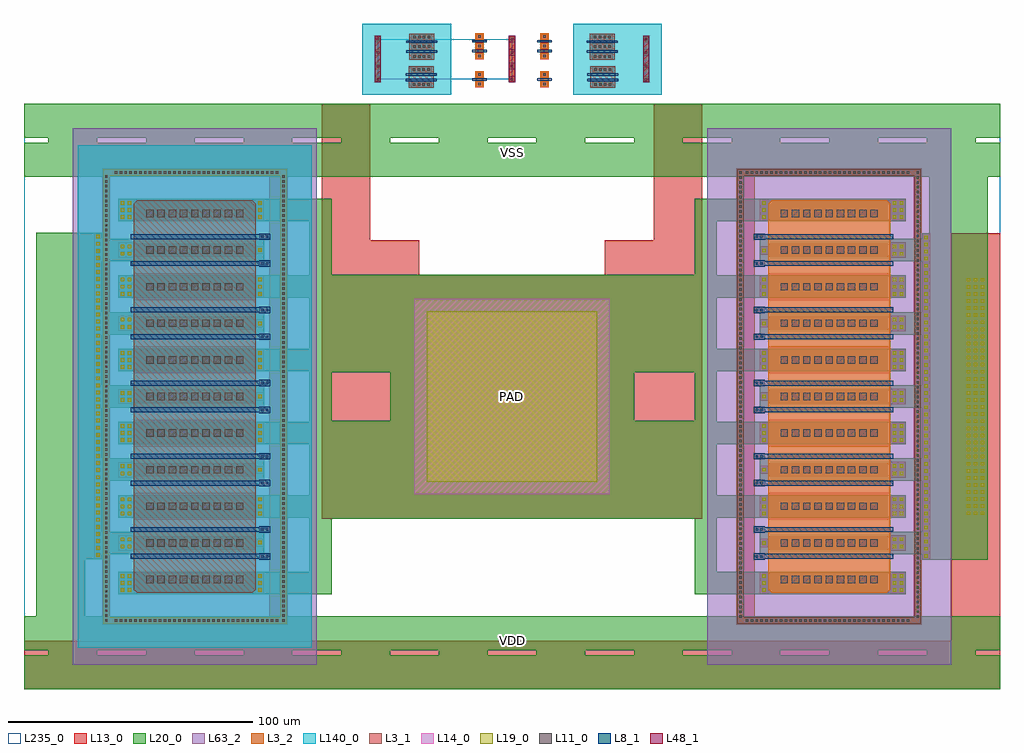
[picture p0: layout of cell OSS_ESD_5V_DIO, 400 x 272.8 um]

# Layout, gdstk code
from math import pi, radians
import gdstk
lib = gdstk.Library(unit=1e-6, precision=1e-09)
def R(c, l, rs):  # rectangles x0, y0, x1, y1
    for r in rs: c.add(gdstk.rectangle(r[:2], r[2:], *l))
def A(c, l, x, y, w, h, nx, ny, dx, dy):  # array of equal rectangles
    R(c, l, [(x+i*dx, y+j*dy, x+i*dx+w, y+j*dy+h) for i in range(nx) for j in range(ny)])
def P(c, l, *ps):  # polygons
    for p in ps: c.add(gdstk.Polygon(p, *l))
L3_1 = (3, 1)
L3_2 = (3, 2)
L8_1 = (8, 1)
L11_0 = (11, 0)
L13_0 = (13, 0)
L14_0 = (14, 0)
L19_0 = (19, 0)
L20_0 = (20, 0)
L48_1 = (48, 1)
L63_2 = (63, 2)
L140_0 = (140, 0)
L235_0 = (235, 0)

oss_wlmn_cdns = lib.new_cell('OSS_WLMN_CDNS')

oss_mne_cdns = lib.new_cell('OSS_MNE_CDNS')
P(oss_mne_cdns, L3_2, [(1.4,0),(0,1.4),(0,48.6),(1.4,50),(24.6,50),(26,48.6),(26,1.4),(24.6,0)],
  [(1.4,0),(0,1.4),(0,48.6),(1.4,50),(24.6,50),(26,48.6),(26,1.4),(24.6,0)])
R(oss_mne_cdns, L8_1, [(10,-1.2,12,51.2)])
A(oss_mne_cdns, L11_0, 4, 5.1, 3, 3, 1, 9, 0, 4.6)
A(oss_mne_cdns, L11_0, 19, 5.1, 3, 3, 1, 9, 0, 4.6)
R(oss_mne_cdns, L13_0, [(2.8,0,8.2,50), (17.8,0,26,50)])

oss_nch_esd = lib.new_cell('OSS_NCH_ESD')
P(oss_nch_esd, L3_1, [(-93.1,-37.6),(-93.1,35),(-90.5,35),(-90.5,-35),(90.5,-35),(90.5,35),(-93.1,35),(-93.1,37.6),(93.1,37.6),(93.1,-37.6)])
P(oss_nch_esd, L8_1, [(-66.5,26.2),(-66.5,26.4),(-66.8,26.4),(-66.8,31),(-64.2,31),(-64.2,26.4),(-64.5,26.4),(-64.5,26.2)],
  [(-55.5,26.2),(-55.5,26.4),(-55.8,26.4),(-55.8,31),(-53.2,31),(-53.2,26.4),(-53.5,26.4),(-53.5,26.2)],
  [(-36.5,26.2),(-36.5,26.4),(-36.8,26.4),(-36.8,31),(-34.2,31),(-34.2,26.4),(-34.5,26.4),(-34.5,26.2)],
  [(-25.5,26.2),(-25.5,26.4),(-25.8,26.4),(-25.8,31),(-23.2,31),(-23.2,26.4),(-23.5,26.4),(-23.5,26.2)],
  [(-6.5,26.2),(-6.5,26.4),(-6.8,26.4),(-6.8,31),(-4.2,31),(-4.2,26.4),(-4.5,26.4),(-4.5,26.2)],
  [(4.5,26.2),(4.5,26.4),(4.2,26.4),(4.2,31),(6.8,31),(6.8,26.4),(6.5,26.4),(6.5,26.2)],
  [(23.5,26.2),(23.5,26.4),(23.2,26.4),(23.2,31),(25.8,31),(25.8,26.4),(25.5,26.4),(25.5,26.2)],
  [(34.5,26.2),(34.5,26.4),(34.2,26.4),(34.2,31),(36.8,31),(36.8,26.4),(36.5,26.4),(36.5,26.2)],
  [(53.5,26.2),(53.5,26.4),(53.2,26.4),(53.2,31),(55.8,31),(55.8,26.4),(55.5,26.4),(55.5,26.2)],
  [(64.5,26.2),(64.5,26.4),(64.2,26.4),(64.2,31),(66.8,31),(66.8,26.4),(66.5,26.4),(66.5,26.2)])
A(oss_nch_esd, L11_0, -90.7, -36.8, 1, 1, 92, 2, 2, 72.6)
A(oss_nch_esd, L11_0, -92.3, -32.8, 1, 1, 1, 34, 0, 2)
A(oss_nch_esd, L11_0, 91.3, -32.8, 1, 1, 1, 34, 0, 2)
R(oss_nch_esd, L11_0, [(-66,27.2,-65,28.2), (-55,27.2,-54,28.2), (-36,27.2,-35,28.2), (-25,27.2,-24,28.2), (-6,27.2,-5,28.2), (5,27.2,6,28.2), (24,27.2,25,28.2), (35,27.2,36,28.2), (54,27.2,55,28.2), (65,27.2,66,28.2), (-66,29.2,-65,30.2), (-55,29.2,-54,30.2), (-36,29.2,-35,30.2), (-25,29.2,-24,30.2), (-6,29.2,-5,30.2), (5,29.2,6,30.2), (24,29.2,25,30.2), (35,29.2,36,30.2), (54,29.2,55,30.2), (65,29.2,66,30.2)])
A(oss_nch_esd, L13_0, -49.6, -31.3, 9.2, 6.3, 4, 1, 30, 0)
A(oss_nch_esd, L13_0, -61.7, 25, 3.4, 3.4, 4, 1, 30, 0)
A(oss_nch_esd, L13_0, -49.6, 25, 9.2, 3.4, 4, 1, 30, 0)
R(oss_nch_esd, L13_0, [(-67,-41.4,66.9,-38), (-93.1,-37.6,93.1,-35), (-93.1,-35,-90.5,35), (90.5,-35,93.1,35), (-81,-31.3,-71.8,-25), (-63.2,-31.3,-59.8,-25), (-60.2,-31.3,-56.8,-25), (-33.2,-31.3,-29.8,-25), (-30.2,-31.3,-26.8,-25), (-3.2,-31.3,0.2,-25), (-0.2,-31.3,3.2,-25), (26.8,-31.3,30.2,-25), (29.8,-31.3,33.2,-25), (56.8,-31.3,60.2,-25), (59.8,-31.3,63.2,-25), (71.8,-31.3,81,-25), (-81,25,-71.8,28.4), (58.2,25,61.6,28.4), (71.8,25,81,28.4), (-66.8,26.4,-64.2,31), (-55.8,26.4,-53.2,31), (-36.8,26.4,-34.2,31), (-25.8,26.4,-23.2,31), (-6.8,26.4,-4.2,31), (4.2,26.4,6.8,31), (23.2,26.4,25.8,31), (34.2,26.4,36.8,31), (53.2,26.4,55.8,31), (64.2,26.4,66.8,31), (-90.5,30.6,90.5,35), (-93.1,35,93.1,37.6)])
A(oss_nch_esd, L19_0, -66, -40.4, 1.4, 1.4, 46, 1, 2.9, 0)
A(oss_nch_esd, L19_0, -80, -30.3, 1.4, 1.4, 3, 2, 2.9, 2.9)
A(oss_nch_esd, L19_0, -48.6, -30.3, 1.4, 1.4, 3, 2, 2.9, 2.9)
A(oss_nch_esd, L19_0, -18.6, -30.3, 1.4, 1.4, 3, 2, 2.9, 2.9)
A(oss_nch_esd, L19_0, 11.4, -30.3, 1.4, 1.4, 3, 2, 2.9, 2.9)
A(oss_nch_esd, L19_0, 41.4, -30.3, 1.4, 1.4, 3, 2, 2.9, 2.9)
A(oss_nch_esd, L19_0, 72.8, -30.3, 1.4, 1.4, 3, 2, 2.9, 2.9)
A(oss_nch_esd, L19_0, -80, 26, 1.4, 1.4, 3, 1, 2.9, 0)
A(oss_nch_esd, L19_0, -48.6, 26, 1.4, 1.4, 3, 1, 2.9, 0)
A(oss_nch_esd, L19_0, -18.6, 26, 1.4, 1.4, 3, 1, 2.9, 0)
A(oss_nch_esd, L19_0, 11.4, 26, 1.4, 1.4, 3, 1, 2.9, 0)
A(oss_nch_esd, L19_0, 41.4, 26, 1.4, 1.4, 3, 1, 2.9, 0)
A(oss_nch_esd, L19_0, 72.8, 26, 1.4, 1.4, 3, 1, 2.9, 0)
R(oss_nch_esd, L19_0, [(-62.2,-30.3,-60.8,-28.9), (-59.2,-30.3,-57.8,-28.9), (-32.2,-30.3,-30.8,-28.9), (-29.2,-30.3,-27.8,-28.9), (-2.2,-30.3,-0.8,-28.9), (0.8,-30.3,2.2,-28.9), (27.8,-30.3,29.2,-28.9), (30.8,-30.3,32.2,-28.9), (57.8,-30.3,59.2,-28.9), (60.8,-30.3,62.2,-28.9), (-62.2,-27.4,-60.8,-26), (-59.2,-27.4,-57.8,-26), (-32.2,-27.4,-30.8,-26), (-29.2,-27.4,-27.8,-26), (-2.2,-27.4,-0.8,-26), (0.8,-27.4,2.2,-26), (27.8,-27.4,29.2,-26), (30.8,-27.4,32.2,-26), (57.8,-27.4,59.2,-26), (60.8,-27.4,62.2,-26), (-60.7,26,-59.3,27.4), (-30.7,26,-29.3,27.4), (-0.7,26,0.7,27.4), (29.3,26,30.7,27.4), (59.2,26,60.6,27.4)])
P(oss_nch_esd, L20_0, [(-67,-50),(-67,-38),(-64.6,-38),(-64.6,28.4),(-55.4,28.4),(-55.4,-38),(-34.6,-38),(-34.6,28.4),(-25.4,28.4),(-25.4,-38),(-4.6,-38),(-4.6,28.4),(4.6,28.4),(4.6,-38),(25.4,-38),(25.4,28.4),(34.6,28.4),(34.6,-38),(55.4,-38),(55.4,28.4),(64.6,28.4),(64.6,-38),(66.9,-38),(66.9,-50)],
  [(-81,-31.3),(-81,50),(81,50),(81,-31.3),(71.8,-31.3),(71.8,46),(49.6,46),(49.6,-31.3),(40.4,-31.3),(40.4,46),(19.6,46),(19.6,-31.3),(10.4,-31.3),(10.4,46),(-10.4,46),(-10.4,-31.3),(-19.6,-31.3),(-19.6,46),(-40.4,46),(-40.4,-31.3),(-49.6,-31.3),(-49.6,46),(-71.8,46),(-71.8,-31.3)])
R(oss_nch_esd, L63_2, [(-110,-50,110,50)])
oss_nch_esd.add(gdstk.FlexPath([(93.5,36.3),(-93.1,36.3)], 3.4, ends="flush", simple_path=True, layer=13, datatype=0))  # L13_0
oss_nch_esd.add(gdstk.FlexPath([(91.8,38),(91.8,-38)], 3.4, ends="flush", simple_path=True, layer=13, datatype=0))  # L13_0
oss_nch_esd.add(gdstk.FlexPath([(93.5,-36.3),(-93.5,-36.3)], 3.4, ends="flush", simple_path=True, layer=13, datatype=0))  # L13_0
oss_nch_esd.add(gdstk.FlexPath([(-91.8,38),(-91.8,-38)], 3.4, ends="flush", simple_path=True, layer=13, datatype=0))  # L13_0
oss_nch_esd.add(gdstk.Reference(oss_wlmn_cdns, (0,0), rotation=pi))
oss_nch_esd.add(gdstk.Reference(oss_mne_cdns, (-5.5,25), x_reflection=True))
oss_nch_esd.add(gdstk.Reference(oss_mne_cdns, (24.5,25), x_reflection=True))
oss_nch_esd.add(gdstk.Reference(oss_mne_cdns, (5.5,25), rotation=pi))
oss_nch_esd.add(gdstk.Reference(oss_mne_cdns, (65.5,25), rotation=pi))
oss_nch_esd.add(gdstk.Reference(oss_mne_cdns, (35.5,25), rotation=pi))
oss_nch_esd.add(gdstk.Reference(oss_mne_cdns, (54.5,25), x_reflection=True))
oss_nch_esd.add(gdstk.Reference(oss_mne_cdns, (-35.5,25), x_reflection=True))
oss_nch_esd.add(gdstk.Reference(oss_mne_cdns, (-24.5,25), rotation=pi))
oss_nch_esd.add(gdstk.Reference(oss_mne_cdns, (-65.5,25), x_reflection=True))
oss_nch_esd.add(gdstk.Reference(oss_mne_cdns, (-54.5,25), rotation=pi))
oss_nch_esd.add(gdstk.Label('VSS', (0,-46), layer=49, texttype=0))
oss_nch_esd.add(gdstk.Label('PAD', (0,48), layer=49, texttype=0))

oss_mpe_cdns = lib.new_cell('OSS_MPE_CDNS')
P(oss_mpe_cdns, L3_1, [(1.4,0),(0,1.4),(0,48.6),(1.4,50),(24.6,50),(26,48.6),(26,1.4),(24.6,0)])
R(oss_mpe_cdns, L8_1, [(10,-1.2,12,51.2)])
A(oss_mpe_cdns, L11_0, 4, 5.1, 3, 3, 1, 9, 0, 4.6)
A(oss_mpe_cdns, L11_0, 19, 5.1, 3, 3, 1, 9, 0, 4.6)
R(oss_mpe_cdns, L13_0, [(2.8,0,8.2,50), (17.8,0,26,50)])

oss_wlmp_cdns = lib.new_cell('OSS_WLMP_CDNS')
R(oss_wlmp_cdns, L140_0, [(-103,-48,103,48)])

oss_pch_esd = lib.new_cell('OSS_PCH_ESD')
P(oss_pch_esd, L3_2, [(-93.1,-37.6),(-93.1,35),(-90.5,35),(-90.5,-35),(90.5,-35),(90.5,35),(-93.1,35),(-93.1,37.6),(93.1,37.6),(93.1,-37.6)],
  [(-93.1,-37.6),(-93.1,35),(-90.5,35),(-90.5,-35),(90.5,-35),(90.5,35),(-93.1,35),(-93.1,37.6),(93.1,37.6),(93.1,-37.6)])
P(oss_pch_esd, L8_1, [(-66.8,-31),(-66.8,-26.4),(-66.5,-26.4),(-66.5,-26.2),(-64.5,-26.2),(-64.5,-26.4),(-64.2,-26.4),(-64.2,-31)],
  [(-55.8,-31),(-55.8,-26.4),(-55.5,-26.4),(-55.5,-26.2),(-53.5,-26.2),(-53.5,-26.4),(-53.2,-26.4),(-53.2,-31)],
  [(-36.8,-31),(-36.8,-26.4),(-36.5,-26.4),(-36.5,-26.2),(-34.5,-26.2),(-34.5,-26.4),(-34.2,-26.4),(-34.2,-31)],
  [(-25.8,-31),(-25.8,-26.4),(-25.5,-26.4),(-25.5,-26.2),(-23.5,-26.2),(-23.5,-26.4),(-23.2,-26.4),(-23.2,-31)],
  [(-6.8,-31),(-6.8,-26.4),(-6.5,-26.4),(-6.5,-26.2),(-4.5,-26.2),(-4.5,-26.4),(-4.2,-26.4),(-4.2,-31)],
  [(4.2,-31),(4.2,-26.4),(4.5,-26.4),(4.5,-26.2),(6.5,-26.2),(6.5,-26.4),(6.8,-26.4),(6.8,-31)],
  [(23.2,-31),(23.2,-26.4),(23.5,-26.4),(23.5,-26.2),(25.5,-26.2),(25.5,-26.4),(25.8,-26.4),(25.8,-31)],
  [(34.2,-31),(34.2,-26.4),(34.5,-26.4),(34.5,-26.2),(36.5,-26.2),(36.5,-26.4),(36.8,-26.4),(36.8,-31)],
  [(53.2,-31),(53.2,-26.4),(53.5,-26.4),(53.5,-26.2),(55.5,-26.2),(55.5,-26.4),(55.8,-26.4),(55.8,-31)],
  [(64.2,-31),(64.2,-26.4),(64.5,-26.4),(64.5,-26.2),(66.5,-26.2),(66.5,-26.4),(66.8,-26.4),(66.8,-31)])
A(oss_pch_esd, L11_0, -92.3, -36.8, 1, 1, 92, 2, 2, 72.6)
A(oss_pch_esd, L11_0, -92.3, -34.2, 1, 1, 1, 34, 0, 2)
A(oss_pch_esd, L11_0, 91.3, -34.2, 1, 1, 1, 34, 0, 2)
R(oss_pch_esd, L11_0, [(-66,-30.2,-65,-29.2), (-55,-30.2,-54,-29.2), (-36,-30.2,-35,-29.2), (-25,-30.2,-24,-29.2), (-6,-30.2,-5,-29.2), (5,-30.2,6,-29.2), (24,-30.2,25,-29.2), (35,-30.2,36,-29.2), (54,-30.2,55,-29.2), (65,-30.2,66,-29.2), (-66,-28.2,-65,-27.2), (-55,-28.2,-54,-27.2), (-36,-28.2,-35,-27.2), (-25,-28.2,-24,-27.2), (-6,-28.2,-5,-27.2), (5,-28.2,6,-27.2), (24,-28.2,25,-27.2), (35,-28.2,36,-27.2), (54,-28.2,55,-27.2), (65,-28.2,66,-27.2)])
A(oss_pch_esd, L13_0, -49.6, -28.4, 9.2, 3.4, 4, 1, 30, 0)
A(oss_pch_esd, L13_0, -31.7, -28.4, 3.4, 3.4, 4, 1, 30, 0)
A(oss_pch_esd, L13_0, -49.6, 25, 9.2, 6.3, 4, 1, 30, 0)
R(oss_pch_esd, L13_0, [(-93.1,-37.6,93.1,-35), (-93.1,-35,-90.5,35), (-90.5,-35,90.5,-30.6), (90.5,-35,93.1,35), (-66.8,-31,-64.2,-26.4), (-55.8,-31,-53.2,-26.4), (-36.8,-31,-34.2,-26.4), (-25.8,-31,-23.2,-26.4), (-6.8,-31,-4.2,-26.4), (4.2,-31,6.8,-26.4), (23.2,-31,25.8,-26.4), (34.2,-31,36.8,-26.4), (53.2,-31,55.8,-26.4), (64.2,-31,66.8,-26.4), (-81,-28.4,-71.8,-25), (-61.6,-28.4,-58.2,-25), (71.8,-28.4,81,-25), (-81,25,-71.8,31.3), (-63.2,25,-59.8,31.3), (-60.2,25,-56.8,31.3), (-33.2,25,-29.8,31.3), (-30.2,25,-26.8,31.3), (-3.2,25,0.2,31.3), (-0.2,25,3.2,31.3), (26.8,25,30.2,31.3), (29.8,25,33.2,31.3), (56.8,25,60.2,31.3), (59.8,25,63.2,31.3), (71.8,25,81,31.3), (-93.1,35,93.1,37.6), (-66.7,38,67.2,41.4)])
A(oss_pch_esd, L19_0, -80, -27.4, 1.4, 1.4, 3, 2, 2.9, 53.4)
A(oss_pch_esd, L19_0, -48.6, -27.4, 1.4, 1.4, 3, 2, 2.9, 53.4)
A(oss_pch_esd, L19_0, -18.6, -27.4, 1.4, 1.4, 3, 2, 2.9, 53.4)
A(oss_pch_esd, L19_0, 11.4, -27.4, 1.4, 1.4, 3, 2, 2.9, 53.4)
A(oss_pch_esd, L19_0, 41.4, -27.4, 1.4, 1.4, 3, 2, 2.9, 53.4)
A(oss_pch_esd, L19_0, 72.8, -27.4, 1.4, 1.4, 3, 2, 2.9, 53.4)
A(oss_pch_esd, L19_0, -80, 28.9, 1.4, 1.4, 3, 1, 2.9, 0)
A(oss_pch_esd, L19_0, -48.6, 28.9, 1.4, 1.4, 3, 1, 2.9, 0)
A(oss_pch_esd, L19_0, -18.6, 28.9, 1.4, 1.4, 3, 1, 2.9, 0)
A(oss_pch_esd, L19_0, 11.4, 28.9, 1.4, 1.4, 3, 1, 2.9, 0)
A(oss_pch_esd, L19_0, 41.4, 28.9, 1.4, 1.4, 3, 1, 2.9, 0)
A(oss_pch_esd, L19_0, 72.8, 28.9, 1.4, 1.4, 3, 1, 2.9, 0)
A(oss_pch_esd, L19_0, -65.7, 39, 1.4, 1.4, 46, 1, 2.9, 0)
R(oss_pch_esd, L19_0, [(-60.6,-27.4,-59.2,-26), (-30.7,-27.4,-29.3,-26), (-0.7,-27.4,0.7,-26), (29.3,-27.4,30.7,-26), (59.3,-27.4,60.7,-26), (-62.2,26,-60.8,27.4), (-59.2,26,-57.8,27.4), (-32.2,26,-30.8,27.4), (-29.2,26,-27.8,27.4), (-2.2,26,-0.8,27.4), (0.8,26,2.2,27.4), (27.8,26,29.2,27.4), (30.8,26,32.2,27.4), (57.8,26,59.2,27.4), (60.8,26,62.2,27.4), (-62.2,28.9,-60.8,30.3), (-59.2,28.9,-57.8,30.3), (-32.2,28.9,-30.8,30.3), (-29.2,28.9,-27.8,30.3), (-2.2,28.9,-0.8,30.3), (0.8,28.9,2.2,30.3), (27.8,28.9,29.2,30.3), (30.8,28.9,32.2,30.3), (57.8,28.9,59.2,30.3), (60.8,28.9,62.2,30.3)])
P(oss_pch_esd, L20_0, [(-81,-50),(-81,31.3),(-71.8,31.3),(-71.8,-47),(-49.6,-47),(-49.6,31.3),(-40.4,31.3),(-40.4,-47),(-19.6,-47),(-19.6,31.3),(-10.4,31.3),(-10.4,-47),(10.4,-47),(10.4,31.3),(19.6,31.3),(19.6,-47),(40.4,-47),(40.4,31.3),(49.6,31.3),(49.6,-47),(71.8,-47),(71.8,31.3),(81,31.3),(81,-50)],
  [(-64.6,-28.4),(-64.6,38),(-66.7,38),(-66.7,50),(67.2,50),(67.2,38),(64.6,38),(64.6,-28.4),(55.4,-28.4),(55.4,38),(34.6,38),(34.6,-28.4),(25.4,-28.4),(25.4,38),(4.6,38),(4.6,-28.4),(-4.6,-28.4),(-4.6,38),(-25.4,38),(-25.4,-28.4),(-34.6,-28.4),(-34.6,38),(-55.4,38),(-55.4,-28.4)])
R(oss_pch_esd, L63_2, [(-110,-50,110,50)])
oss_pch_esd.add(gdstk.FlexPath([(65.5,-29.7),(65.5,-31.9),(-65.5,-31.9),(-65.5,-29.7)], 2.6, ends="flush", simple_path=True, layer=13, datatype=0))  # L13_0
oss_pch_esd.add(gdstk.FlexPath([(-93.5,-36.3),(93.5,-36.3)], 3.4, ends="flush", simple_path=True, layer=13, datatype=0))  # L13_0
oss_pch_esd.add(gdstk.FlexPath([(-93.5,36.3),(93.5,36.3)], 3.4, ends="flush", simple_path=True, layer=13, datatype=0))  # L13_0
oss_pch_esd.add(gdstk.FlexPath([(-91.8,-38),(-91.8,38)], 3.4, ends="flush", simple_path=True, layer=13, datatype=0))  # L13_0
oss_pch_esd.add(gdstk.FlexPath([(91.8,-38),(91.8,38)], 3.4, ends="flush", simple_path=True, layer=13, datatype=0))  # L13_0
oss_pch_esd.add(gdstk.Reference(oss_mpe_cdns, (5.5,-25), rotation=pi, x_reflection=True))
oss_pch_esd.add(gdstk.Reference(oss_mpe_cdns, (-35.5,-25)))
oss_pch_esd.add(gdstk.Reference(oss_mpe_cdns, (24.5,-25)))
oss_pch_esd.add(gdstk.Reference(oss_mpe_cdns, (35.5,-25), rotation=pi, x_reflection=True))
oss_pch_esd.add(gdstk.Reference(oss_mpe_cdns, (-5.5,-25)))
oss_pch_esd.add(gdstk.Reference(oss_mpe_cdns, (65.5,-25), rotation=pi, x_reflection=True))
oss_pch_esd.add(gdstk.Reference(oss_mpe_cdns, (54.5,-25)))
oss_pch_esd.add(gdstk.Reference(oss_mpe_cdns, (-54.5,-25), rotation=pi, x_reflection=True))
oss_pch_esd.add(gdstk.Reference(oss_mpe_cdns, (-65.5,-25)))
oss_pch_esd.add(gdstk.Reference(oss_mpe_cdns, (-24.5,-25), rotation=pi, x_reflection=True))
oss_pch_esd.add(gdstk.Reference(oss_wlmp_cdns, (0,0)))
oss_pch_esd.add(gdstk.Label('VDD', (0,45), layer=49, texttype=0))
oss_pch_esd.add(gdstk.Label('PAD', (0,-49), layer=49, texttype=0))

oss_pad = lib.new_cell('OSS_PAD')
R(oss_pad, L13_0, [(-50,-50,50,50)])
R(oss_pad, L14_0, [(-40,-40,40,40)])
R(oss_pad, L19_0, [(-35,-35,35,35)])
R(oss_pad, L20_0, [(-50,-50,50,50)])

via_1 = lib.new_cell('via_1')
R(via_1, L13_0, [(-5,-50,5,50)])
A(via_1, L19_0, -3.6, -48.55, 1.4, 1.4, 3, 34, 2.9, 2.9)
R(via_1, L20_0, [(-5,-50,5,50)])

fet_p = lib.new_cell('fet_p')
R(fet_p, L3_1, [(-4.4,-5.2,4.4,5.2)])
A(fet_p, L11_0, -3.6, -3.5, 1, 1, 1, 4, 0, 2)
A(fet_p, L11_0, 2.6, -3.5, 1, 1, 1, 4, 0, 2)
R(fet_p, L13_0, [(-4.4,-4.3,-1.8,4.3), (1.8,-4.3,4.4,4.3)])
fet_p.add(gdstk.FlexPath([(1.1,-6.4),(1.1,6.4)], 1, ends="flush", simple_path=True, layer=8, datatype=1))  # L8_1
fet_p.add(gdstk.FlexPath([(-1.1,-6.4),(-1.1,6.4)], 1, ends="flush", simple_path=True, layer=8, datatype=1))  # L8_1

fet_n = lib.new_cell('fet_n')
R(fet_n, L3_2, [(-3.3,-1.7,3.3,1.7)])
R(fet_n, L11_0, [(-2.5,-0.5,-1.5,0.5), (1.5,-0.5,2.5,0.5)])
R(fet_n, L13_0, [(-3.3,-1.3,-0.7,1.3), (0.7,-1.3,3.3,1.3)])
fet_n.add(gdstk.FlexPath([(0,-2.9),(0,2.9)], 1, ends="flush", simple_path=True, layer=8, datatype=1))  # L8_1

fet_p_3 = lib.new_cell('fet_p$3')
R(fet_p_3, L3_1, [(-5.3,-5.2,5.3,5.2)])
A(fet_p_3, L11_0, -4.5, -3.5, 1, 1, 3, 4, 4, 2)
A(fet_p_3, L13_0, -5.3, -4.3, 2.6, 8.6, 3, 1, 4, 0)
fet_p_3.add(gdstk.FlexPath([(2,-6.4),(2,6.4)], 1, ends="flush", simple_path=True, layer=8, datatype=1))  # L8_1
fet_p_3.add(gdstk.FlexPath([(-2,-6.4),(-2,6.4)], 1, ends="flush", simple_path=True, layer=8, datatype=1))  # L8_1

fet_n_1 = lib.new_cell('fet_n$1')
R(fet_n_1, L3_2, [(-5.3,-1.7,5.3,1.7)])
A(fet_n_1, L11_0, -4.5, -0.5, 1, 1, 3, 1, 4, 0)
A(fet_n_1, L13_0, -5.3, -1.3, 2.6, 2.6, 3, 1, 4, 0)
fet_n_1.add(gdstk.FlexPath([(2,-2.9),(2,2.9)], 1, ends="flush", simple_path=True, layer=8, datatype=1))  # L8_1
fet_n_1.add(gdstk.FlexPath([(-2,-2.9),(-2,2.9)], 1, ends="flush", simple_path=True, layer=8, datatype=1))  # L8_1

oss_drv = lib.new_cell('OSS_DRV')
R(oss_drv, L3_1, [(-1.3,-1.3,1.3,1.3), (-1.3,-1.3,1.3,1.3), (-1.3,4.2,1.3,6.8), (-1.3,4.2,1.3,6.8), (-1.3,9.7,1.3,12.3), (-1.3,9.7,1.3,12.3), (-1.3,15.2,1.3,17.8), (-1.3,15.2,1.3,17.8)])
A(oss_drv, L3_2, -56.3, -1.3, 2.6, 2.6, 1, 4, 0, 5.5)
A(oss_drv, L3_2, 53.7, -1.3, 2.6, 2.6, 1, 4, 0, 5.5)
A(oss_drv, L11_0, -55.5, -0.5, 1, 1, 1, 4, 0, 5.5)
A(oss_drv, L11_0, 54.5, -0.5, 1, 1, 1, 4, 0, 5.5)
R(oss_drv, L11_0, [(-0.5,-0.5,0.5,0.5), (-0.5,-0.5,0.5,0.5), (-0.5,5,0.5,6), (-0.5,5,0.5,6), (-0.5,10.5,0.5,11.5), (-0.5,10.5,0.5,11.5), (-0.5,16,0.5,17), (-0.5,16,0.5,17)])
P(oss_drv, L13_0, [(-1.3,-1.3),(-1.3,2.8),(-1.3,5.4),(-1.3,17.8),(1.3,17.8),(1.3,-1.3)],
  [(-56.3,-1.3),(-56.3,17.8),(-53.7,17.8),(-53.7,5.4),(-53.7,2.8),(-53.7,-1.3)],
  [(-1.3,-1.3),(-1.3,17.8),(1.3,17.8),(1.3,5.4),(1.3,2.8),(1.3,-1.3)],
  [(53.7,-1.3),(53.7,2.8),(53.7,5.4),(53.7,17.8),(56.3,17.8),(56.3,-1.3)])
R(oss_drv, L48_1, [(-56.3,-1.3,-53.7,17.8), (-1.3,-1.3,1.3,17.8), (-1.3,-1.3,1.3,17.8), (53.7,-1.3,56.3,17.8)])
R(oss_drv, L140_0, [(-61.3,-6.3,-25,22.8), (25,-6.3,61.3,22.8)])
R(oss_drv, L235_0, [(-55,0,0,16.5)])
oss_drv.add(gdstk.Reference(fet_p, (-37.2,0.9), rotation=pi/2))
oss_drv.add(gdstk.Reference(fet_n, (-13.3,0), rotation=pi/2))
oss_drv.add(gdstk.Reference(fet_p_3, (-37,13.4), rotation=pi/2))
oss_drv.add(gdstk.Reference(fet_n_1, (-13.3,13.6), rotation=pi/2))
oss_drv.add(gdstk.Reference(fet_p, (37.2,0.9), rotation=pi/2, x_reflection=True))
oss_drv.add(gdstk.Reference(fet_n, (13.3,0), rotation=pi/2, x_reflection=True))
oss_drv.add(gdstk.Reference(fet_p_3, (37,13.4), rotation=pi/2, x_reflection=True))
oss_drv.add(gdstk.Reference(fet_n_1, (13.3,13.6), rotation=pi/2, x_reflection=True))
oss_drv.add(gdstk.Label('vdd', (55,0), layer=48, texttype=0))
oss_drv.add(gdstk.Label('vdd', (-55,0), layer=48, texttype=0))
oss_drv.add(gdstk.Label('gnd', (0,0), layer=48, texttype=0))
oss_drv.add(gdstk.Label('gnd', (0,0), layer=48, texttype=0))

oss_esd_5v_dio = lib.new_cell('OSS_ESD_5V_DIO')
R(oss_esd_5v_dio, L13_0, [(-78,-50,-58,120), (-60,-50,60,50), (58,-50,78,120), (-78,50,-38,64), (38,50,78,64)])
P(oss_esd_5v_dio, L13_0, [(-200,-120),(-200,-100),(92,-100),(180,-100),(180,66.9),(200,66.9),(200,-100),(200,-120)])
R(oss_esd_5v_dio, L20_0, [(-195,-90,-175,67.2), (-80,-81,-73.8,81), (74.8,-81,80,81), (171,-67,195,90), (-80,-50,-50,-10), (50,-50,80,-10), (-80,10,-50,50), (50,10,80,50)])
P(oss_esd_5v_dio, L20_0, [(-200,-120),(-200,-106),(-190,-106),(-190,-104),(-170,-104),(-170,-106),(-150,-106),(-150,-104),(-130,-104),(-130,-106),(-110,-106),(-110,-104),(-90,-104),(-90,-106),(-70,-106),(-70,-104),(-50,-104),(-50,-106),(-30,-106),(-30,-104),(-200,-104),(-200,-90),(0,-90),(0,-104),(-10,-104),(-10,-106),(0,-106),(0,-120)],
  [(-200,90),(-200,104),(-190,104),(-190,106),(-170,106),(-170,104),(-150,104),(-150,106),(-130,106),(-130,104),(-110,104),(-110,106),(-90,106),(-90,104),(-70,104),(-70,106),(-50,106),(-50,104),(-30,104),(-30,106),(-200,106),(-200,120),(0,120),(0,106),(-10,106),(-10,104),(0,104),(0,90)],
  [(0,-120),(0,-106),(10,-106),(10,-104),(0,-104),(0,-90),(200,-90),(200,-104),(30,-104),(30,-106),(50,-106),(50,-104),(70,-104),(70,-106),(90,-106),(90,-104),(110,-104),(110,-106),(130,-106),(130,-104),(150,-104),(150,-106),(170,-106),(170,-104),(190,-104),(190,-106),(200,-106),(200,-120)],
  [(0,90),(0,104),(10,104),(10,106),(0,106),(0,120),(200,120),(200,106),(30,106),(30,104),(50,104),(50,106),(70,106),(70,104),(90,104),(90,106),(110,106),(110,104),(130,104),(130,106),(150,106),(150,104),(170,104),(170,106),(190,106),(190,104),(200,104),(200,90)])
R(oss_esd_5v_dio, L235_0, [(-200,-120,200,120)])
oss_esd_5v_dio.add(gdstk.Reference(oss_nch_esd, (130,0), rotation=pi/2))
oss_esd_5v_dio.add(gdstk.Reference(oss_pch_esd, (-130,0), rotation=pi/2))
oss_esd_5v_dio.add(gdstk.Reference(oss_pad, (0,0)))
oss_esd_5v_dio.add(gdstk.Reference(via_1, (190,0)))
oss_esd_5v_dio.add(gdstk.Reference(oss_drv, (0,130)))
oss_esd_5v_dio.add(gdstk.Label('VSS', (0,100), layer=49, texttype=0))
oss_esd_5v_dio.add(gdstk.Label('VDD', (0,-100), layer=49, texttype=0))
oss_esd_5v_dio.add(gdstk.Label('PAD', (-0.179,0), layer=49, texttype=0))

lib.write_gds('OSS_ESD_5V_DIO.gds')
